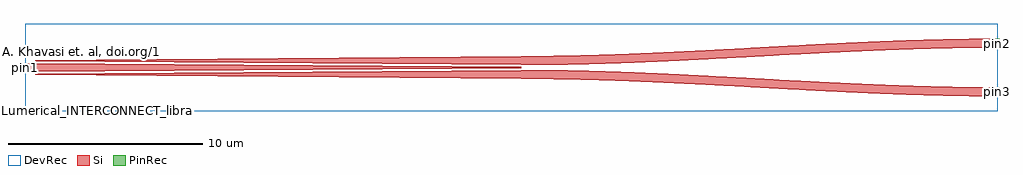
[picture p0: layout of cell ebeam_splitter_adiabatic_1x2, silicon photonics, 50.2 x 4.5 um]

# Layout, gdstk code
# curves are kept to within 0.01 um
import gdstk
lib = gdstk.Library(unit=1e-6, precision=1e-09)
def R(c, l, rs):  # rectangles x0, y0, x1, y1
    for r in rs: c.add(gdstk.rectangle(r[:2], r[2:], *l))
def P(c, l, *ps):  # polygons
    for p in ps: c.add(gdstk.Polygon(p, *l))
Si = (1, 0)
PinRec = (1, 10)
DevRec = (68, 0)

ebeam_splitter_adiabatic = lib.new_cell('ebeam_splitter_adiabatic_1x2')
P(ebeam_splitter_adiabatic, Si, [(25.6,0.13),(0.6,0.325),(0.6,0.385),(26.487,0.583),(28.535,0.615),(30.65,0.678),(33.039,0.777),(40.887,1.191),(44.231,1.346),(47.165,1.44),(50.1,1.475),(50.1,1.025),(47.438,0.996),(44.913,0.922),(41.842,0.789),(34.813,0.414),(31.64,0.266),(28.535,0.165)],
  [(49.793,-1.475),(47.165,-1.44),(44.231,-1.346),(40.887,-1.191),(33.039,-0.777),(30.65,-0.678),(28.535,-0.615),(26.487,-0.583),(0.6,-0.385),(0.6,-0.325),(25.6,-0.13),(28.535,-0.165),(30.65,-0.228),(33.039,-0.327),(40.887,-0.741),(44.231,-0.896),(47.165,-0.99),(50.1,-1.025),(50.1,-1.475)],
  [(0.1,-0.225),(0.1,0.225),(0.6,0.225),(25.6,0.03),(25.6,-0.03),(0.6,-0.225)])
R(ebeam_splitter_adiabatic, DevRec, [(0.1,-2.25,50.1,2.25)])
ebeam_splitter_adiabatic.add(gdstk.FlexPath([(0.2,0),(0,0)], 0.45, ends="flush", simple_path=True, layer=1, datatype=10))  # PinRec
ebeam_splitter_adiabatic.add(gdstk.FlexPath([(50,1.25),(50.2,1.25)], 0.45, ends="flush", simple_path=True, layer=1, datatype=10))  # PinRec
ebeam_splitter_adiabatic.add(gdstk.FlexPath([(50,-1.25),(50.2,-1.25)], 0.45, ends="flush", simple_path=True, layer=1, datatype=10))  # PinRec
ebeam_splitter_adiabatic.add(gdstk.Label('A. Khavasi et. al, doi.org/10.1109/JSTQE.2019.2917501 ', (0.64,0.81), layer=68, texttype=0))
ebeam_splitter_adiabatic.add(gdstk.Label('Lumerical_INTERCONNECT_library=Design kits/ebeam', (0.64,-2.19), layer=68, texttype=0))
ebeam_splitter_adiabatic.add(gdstk.Label('pin1', (0.1,0), layer=1, texttype=10))
ebeam_splitter_adiabatic.add(gdstk.Label('pin3', (50.1,-1.25), layer=1, texttype=10))
ebeam_splitter_adiabatic.add(gdstk.Label('pin2', (50.1,1.25), layer=1, texttype=10))

lib.write_gds('ebeam_splitter_adiabatic_1x2.gds')
